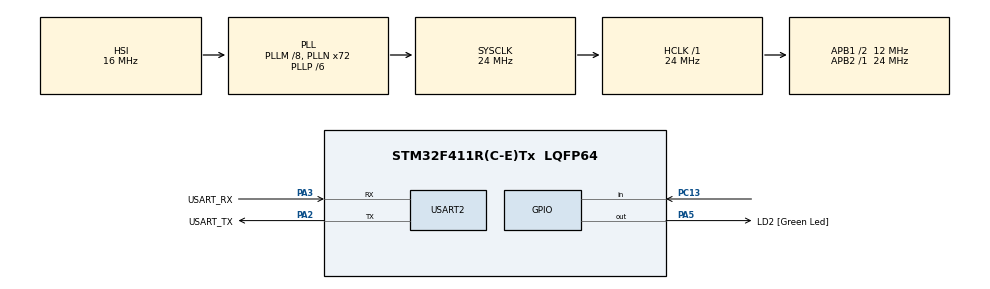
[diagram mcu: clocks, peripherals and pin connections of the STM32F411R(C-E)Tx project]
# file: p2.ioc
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Mcu.Family=STM32F4
Mcu.Name=STM32F411R(C-E)Tx
Mcu.Package=LQFP64
NVIC.PriorityGroup=NVIC_PRIORITYGROUP_0
PA13.GPIO_Label=TMS
PA13.Mode=Serial_Wire
PA13.Signal=SYS_JTMS-SWDIO
PA14.GPIO_Label=TCK
PA14.Mode=Serial_Wire
PA14.Signal=SYS_JTCK-SWCLK
PA2.GPIO_Label=USART_TX
PA2.Mode=Asynchronous
PA2.Signal=USART2_TX
PA3.GPIO_Label=USART_RX
PA3.Mode=Asynchronous
PA3.Signal=USART2_RX
PA5.GPIO_Label=LD2 [Green Led]
PA5.Signal=GPIO_Output
PB3.GPIO_Label=SWO
PB3.Signal=SYS_JTDO-SWO
PC13-ANTI_TAMP.Signal=GPIO_Input
PC14-OSC32_IN.Mode=LSE-External-Oscillator
PC14-OSC32_IN.Signal=RCC_OSC32_IN
PC15-OSC32_OUT.Mode=LSE-External-Oscillator
PC15-OSC32_OUT.Signal=RCC_OSC32_OUT
PH0\ -\ OSC_IN.Mode=HSE-External-Clock-Source
PH0\ -\ OSC_IN.Signal=RCC_OSC_IN
PH1\ -\ OSC_OUT.Mode=HSE-External-Clock-Source
PH1\ -\ OSC_OUT.Signal=RCC_OSC_OUT
ProjectManager.HeapSize=0x200
ProjectManager.StackSize=0x400
ProjectManager.TargetToolchain=STM32CubeIDE
RCC.48MHZClocksFreq_Value=36000000
RCC.AHBFreq_Value=24000000
RCC.APB1CLKDivider=RCC_HCLK_DIV2
RCC.APB1Freq_Value=12000000
RCC.APB1TimFreq_Value=24000000
RCC.APB2Freq_Value=24000000
RCC.APB2TimFreq_Value=24000000
RCC.CortexFreq_Value=24000000
RCC.FLatency-AdvancedSettings=FLASH_LATENCY_0
RCC.HCLKFreq_Value=24000000
RCC.HSE_VALUE=8000000
RCC.HSI_VALUE=16000000
RCC.PLLM=8
RCC.PLLN=72
RCC.PLLP=RCC_PLLP_DIV6
RCC.SYSCLKFreq_VALUE=24000000
RCC.SYSCLKSource=RCC_SYSCLKSOURCE_PLLCLK
RCC.VCOOutputFreq_Value=144000000
USART2.VirtualMode=VM_ASYNC
board=NUCLEO-F411RE

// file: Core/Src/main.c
/* USER CODE BEGIN Header */
/**
  ******************************************************************************
  * @file           : main.c
  * @brief          : Main program body
  ******************************************************************************
  * @attention
  *
  * Copyright (c) 2026 STMicroelectronics.
  * All rights reserved.
  *
  * This software is licensed under terms that can be found in the LICENSE file
  * in the root directory of this software component.
  * If no LICENSE file comes with this software, it is provided AS-IS.
  *
  ******************************************************************************
  */
/* USER CODE END Header */
#include "main.h"

UART_HandleTypeDef huart2;

/* USER CODE BEGIN PV */
volatile uint16_t streak = 0;
/* USER CODE END PV */

void SystemClock_Config(void);
static void MX_GPIO_Init(void);
static void MX_USART2_UART_Init(void);

int main(void)
{

  /* MCU Configuration--------------------------------------------------------*/

  /* Reset of all peripherals, Initializes the Flash interface and the Systick. */
  HAL_Init();

  /* Configure the system clock */
  SystemClock_Config();

  /* Initialize all configured peripherals */
  MX_GPIO_Init();
  MX_USART2_UART_Init();

  /* Infinite loop */
  /* USER CODE BEGIN WHILE */
  while (1)
  {
	if (HAL_GPIO_ReadPin(GPIOC, GPIO_PIN_13) == GPIO_PIN_RESET) {
		HAL_Delay(50);

		if (HAL_GPIO_ReadPin(GPIOC, GPIO_PIN_13) == GPIO_PIN_RESET) {
			HAL_GPIO_TogglePin(GPIOA, GPIO_PIN_5);
			HAL_UART_Transmit(&huart2, (uint8_t*)&"A", 1, 10);

			HAL_Delay(450);
			if (HAL_GPIO_ReadPin(GPIOC, GPIO_PIN_13) == GPIO_PIN_RESET) {
				for (int i=500; i<5000; i += 250) {
					HAL_Delay(250);
					HAL_UART_Transmit(&huart2, (uint8_t*)&"A", 1, 10);
					HAL_GPIO_TogglePin(GPIOA, GPIO_PIN_5);
					if (HAL_GPIO_ReadPin(GPIOC, GPIO_PIN_13) == GPIO_PIN_SET) break;
				}
				if (HAL_GPIO_ReadPin(GPIOC, GPIO_PIN_13) == GPIO_PIN_RESET) {
					HAL_UART_Transmit(&huart2, (uint8_t*)&"STUCK", 5, 10);
					HAL_GPIO_WritePin(GPIOA, GPIO_PIN_5, GPIO_PIN_SET);
					while (HAL_GPIO_ReadPin(GPIOC, GPIO_PIN_13) == GPIO_PIN_RESET);
					HAL_GPIO_WritePin(GPIOA, GPIO_PIN_5, GPIO_PIN_SET);

				}
			}
		}
	}
    /* USER CODE END WHILE */

  }
}

void SystemClock_Config(void)
{
  RCC_OscInitTypeDef RCC_OscInitStruct = {0};
  RCC_ClkInitTypeDef RCC_ClkInitStruct = {0};

  /** Configure the main internal regulator output voltage
  */
  __HAL_RCC_PWR_CLK_ENABLE();
  __HAL_PWR_VOLTAGESCALING_CONFIG(PWR_REGULATOR_VOLTAGE_SCALE1);

  /** Initializes the RCC Oscillators according to the specified parameters
  * in the RCC_OscInitTypeDef structure.
  */
  RCC_OscInitStruct.OscillatorType = RCC_OSCILLATORTYPE_HSI;
  RCC_OscInitStruct.HSIState = RCC_HSI_ON;
  RCC_OscInitStruct.HSICalibrationValue = RCC_HSICALIBRATION_DEFAULT;
  RCC_OscInitStruct.PLL.PLLState = RCC_PLL_ON;
  RCC_OscInitStruct.PLL.PLLSource = RCC_PLLSOURCE_HSI;
  RCC_OscInitStruct.PLL.PLLM = 8;
  RCC_OscInitStruct.PLL.PLLN = 72;
  RCC_OscInitStruct.PLL.PLLP = RCC_PLLP_DIV6;
  RCC_OscInitStruct.PLL.PLLQ = 4;
  if (HAL_RCC_OscConfig(&RCC_OscInitStruct) != HAL_OK)
  {
    Error_Handler();
  }

  /** Initializes the CPU, AHB and APB buses clocks
  */
  RCC_ClkInitStruct.ClockType = RCC_CLOCKTYPE_HCLK|RCC_CLOCKTYPE_SYSCLK
                              |RCC_CLOCKTYPE_PCLK1|RCC_CLOCKTYPE_PCLK2;
  RCC_ClkInitStruct.SYSCLKSource = RCC_SYSCLKSOURCE_PLLCLK;
  RCC_ClkInitStruct.AHBCLKDivider = RCC_SYSCLK_DIV1;
  RCC_ClkInitStruct.APB1CLKDivider = RCC_HCLK_DIV2;
  RCC_ClkInitStruct.APB2CLKDivider = RCC_HCLK_DIV1;

  if (HAL_RCC_ClockConfig(&RCC_ClkInitStruct, FLASH_LATENCY_0) != HAL_OK)
  {
    Error_Handler();
  }
}

static void MX_USART2_UART_Init(void)
{

  huart2.Instance = USART2;
  huart2.Init.BaudRate = 115200;
  huart2.Init.WordLength = UART_WORDLENGTH_8B;
  huart2.Init.StopBits = UART_STOPBITS_1;
  huart2.Init.Parity = UART_PARITY_NONE;
  huart2.Init.Mode = UART_MODE_TX_RX;
  huart2.Init.HwFlowCtl = UART_HWCONTROL_NONE;
  huart2.Init.OverSampling = UART_OVERSAMPLING_16;
  if (HAL_UART_Init(&huart2) != HAL_OK)
  {
    Error_Handler();
  }

}

static void MX_GPIO_Init(void)
{
  GPIO_InitTypeDef GPIO_InitStruct = {0};

  /* GPIO Ports Clock Enable */
  __HAL_RCC_GPIOC_CLK_ENABLE();
  __HAL_RCC_GPIOH_CLK_ENABLE();
  __HAL_RCC_GPIOA_CLK_ENABLE();
  __HAL_RCC_GPIOB_CLK_ENABLE();

  /*Configure GPIO pin Output Level */
  HAL_GPIO_WritePin(LD2_GPIO_Port, LD2_Pin, GPIO_PIN_RESET);

  /*Configure GPIO pin : PC13 */
  GPIO_InitStruct.Pin = GPIO_PIN_13;
  GPIO_InitStruct.Mode = GPIO_MODE_INPUT;
  GPIO_InitStruct.Pull = GPIO_NOPULL;
  HAL_GPIO_Init(GPIOC, &GPIO_InitStruct);

  /*Configure GPIO pin : LD2_Pin */
  GPIO_InitStruct.Pin = LD2_Pin;
  GPIO_InitStruct.Mode = GPIO_MODE_OUTPUT_PP;
  GPIO_InitStruct.Pull = GPIO_NOPULL;
  GPIO_InitStruct.Speed = GPIO_SPEED_FREQ_LOW;
  HAL_GPIO_Init(LD2_GPIO_Port, &GPIO_InitStruct);

}

void Error_Handler(void)
{
  __disable_irq();
  while (1)
  {
  }
}
